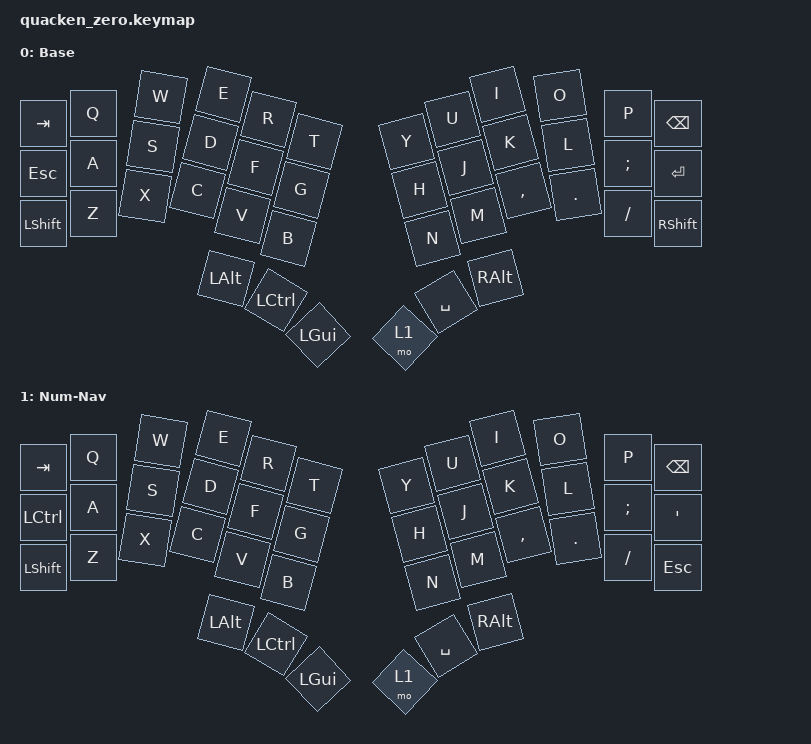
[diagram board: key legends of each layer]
#include <behaviors.dtsi>
#include <dt-bindings/zmk/keys.h>

/ {
    keymap {
        compatible = "zmk,keymap";

        default_layer {
            display-name = "Base";
            bindings = <
   &kp TAB   &kp Q &kp W &kp E &kp R &kp T   &kp Y &kp U  &kp I     &kp O   &kp P    &kp BSPC
   &kp ESC   &kp A &kp S &kp D &kp F &kp G   &kp H &kp J  &kp K     &kp L   &kp SEMI &kp ENTER
   &kp LSHFT &kp Z &kp X &kp C &kp V &kp B   &kp N &kp M  &kp COMMA &kp DOT &kp FSLH &kp RSHIFT
                  &kp LALT &kp LCTL &kp LGUI   &mo 1 &kp SPACE &kp RALT
            >;
        };

        num_nav {
            display-name = "Num-Nav";
            bindings = <
   &kp TAB   &kp Q &kp W &kp E &kp R &kp T   &kp Y &kp U  &kp I     &kp O   &kp P    &kp BSPC
   &kp LCTRL &kp A &kp S &kp D &kp F &kp G   &kp H &kp J  &kp K     &kp L   &kp SEMI &kp SQT
   &kp LSHFT &kp Z &kp X &kp C &kp V &kp B   &kp N &kp M  &kp COMMA &kp DOT &kp FSLH &kp ESC
                  &kp LALT &kp LCTL &kp LGUI   &mo 1 &kp SPACE &kp RALT
            >;
        };
    };
};
